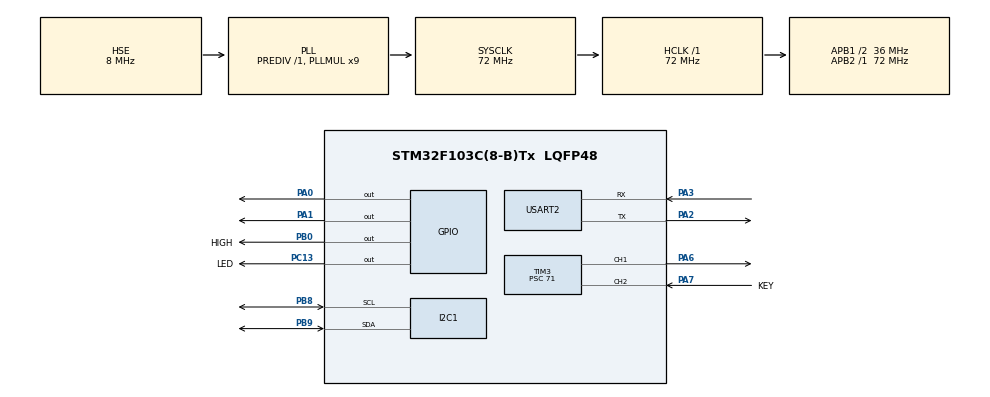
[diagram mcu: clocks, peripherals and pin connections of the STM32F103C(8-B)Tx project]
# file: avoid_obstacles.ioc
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Dma.Request0=USART2_TX
Dma.USART2_TX.0.Direction=DMA_MEMORY_TO_PERIPH
Dma.USART2_TX.0.Instance=DMA1_Channel7
Dma.USART2_TX.0.MemDataAlignment=DMA_MDATAALIGN_BYTE
Dma.USART2_TX.0.MemInc=DMA_MINC_ENABLE
Dma.USART2_TX.0.Mode=DMA_CIRCULAR
Dma.USART2_TX.0.PeriphDataAlignment=DMA_PDATAALIGN_BYTE
Dma.USART2_TX.0.PeriphInc=DMA_PINC_DISABLE
Dma.USART2_TX.0.Priority=DMA_PRIORITY_LOW
Mcu.Family=STM32F1
Mcu.Name=STM32F103C(8-B)Tx
Mcu.Package=LQFP48
NVIC.DMA1_Channel7_IRQn=true\:0\:0\:false\:false\:true\:false\:true\:true
NVIC.PriorityGroup=NVIC_PRIORITYGROUP_4
NVIC.TIM3_IRQn=true\:0\:0\:false\:false\:true\:true\:true\:true
PA0-WKUP.Signal=GPIO_Output
PA1.Signal=GPIO_Output
PA13.Mode=Serial_Wire
PA13.Signal=SYS_JTMS-SWDIO
PA14.Mode=Serial_Wire
PA14.Signal=SYS_JTCK-SWCLK
PA2.Mode=Asynchronous
PA2.Signal=USART2_TX
PA3.Mode=Asynchronous
PA3.Signal=USART2_RX
PA6.Signal=S_TIM3_CH1
PA7.GPIO_Label=KEY
PA7.GPIO_PuPd=GPIO_PULLDOWN
PA7.Signal=S_TIM3_CH2
PB0.GPIO_Label=HIGH
PB0.GPIO_PuPd=GPIO_PULLUP
PB0.PinState=GPIO_PIN_SET
PB0.Signal=GPIO_Output
PB8.Mode=I2C
PB8.Signal=I2C1_SCL
PB9.Mode=I2C
PB9.Signal=I2C1_SDA
PC13-TAMPER-RTC.GPIO_Label=LED
PC13-TAMPER-RTC.GPIO_PuPd=GPIO_PULLDOWN
PC13-TAMPER-RTC.PinState=GPIO_PIN_RESET
PC13-TAMPER-RTC.Signal=GPIO_Output
PD0-OSC_IN.Mode=HSE-External-Oscillator
PD0-OSC_IN.Signal=RCC_OSC_IN
PD1-OSC_OUT.Mode=HSE-External-Oscillator
PD1-OSC_OUT.Signal=RCC_OSC_OUT
ProjectManager.HeapSize=0x200
ProjectManager.StackSize=0x400
ProjectManager.TargetToolchain=STM32CubeIDE
RCC.AHBFreq_Value=72000000
RCC.APB1CLKDivider=RCC_HCLK_DIV2
RCC.APB1Freq_Value=36000000
RCC.APB1TimFreq_Value=72000000
RCC.APB2Freq_Value=72000000
RCC.APB2TimFreq_Value=72000000
RCC.HCLKFreq_Value=72000000
RCC.PLLMUL=RCC_PLL_MUL9
RCC.PLLSourceVirtual=RCC_PLLSOURCE_HSE
RCC.SYSCLKFreq_VALUE=72000000
RCC.SYSCLKSource=RCC_SYSCLKSOURCE_PLLCLK
RCC.USBFreq_Value=72000000
SH.S_TIM3_CH1.0=TIM3_CH1,PWM Generation1 CH1
SH.S_TIM3_CH2.0=TIM3_CH2,Input_Capture2_from_TI2
TIM3.Channel-Input_Capture2_from_TI2=TIM_CHANNEL_2
TIM3.Channel-PWM\ Generation1\ CH1=TIM_CHANNEL_1
TIM3.ICFilter_CH2=8
TIM3.OCMode_PWM-PWM\ Generation1\ CH1=TIM_OCMODE_PWM2
TIM3.Period=499
TIM3.Prescaler=71
USART2.VirtualMode=VM_ASYNC
VP_TIM3_VS_ClockSourceINT.Mode=Internal
board=custom

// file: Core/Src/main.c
/* USER CODE BEGIN Header */
/**
  ******************************************************************************
  * @file           : main.c
  * @brief          : Main program body
  ******************************************************************************
  * @attention
  *
  * Copyright (c) 2023 STMicroelectronics.
  * All rights reserved.
  *
  * This software is licensed under terms that can be found in the LICENSE file
  * in the root directory of this software component.
  * If no LICENSE file comes with this software, it is provided AS-IS.
  *
  ******************************************************************************
  */
/* USER CODE END Header */
#include "main.h"
#include "dma.h"
#include "i2c.h"
#include "tim.h"
#include "usart.h"
#include "gpio.h"

/* USER CODE BEGIN Includes */
#include "atk_ms53l1m.h"
#include "stdio.h"
#include "oled.h"
#include "bmp.h"
/* USER CODE END Includes */

/* USER CODE BEGIN PD */
#define VL53L1X_ADDR 0x52
#define VL53L1X_WRITE 0xEF
#define VL53L1X_READ 0xEE
#define ADDR_24LCxx_WRITE 0xA0
#define ADDR_24LCxx_READ 0xA1
#define BufferSize 1024
/* USER CODE END PD */

/* USER CODE BEGIN PV */
uint16_t id;
/* USER CODE END PV */

void SystemClock_Config(void);

/* USER CODE BEGIN 0 */

// overwrite _write printf function with USART for clion
#ifdef __GNUC__

int _write(int file, char *ptr, int len) {
    // Send UART DATA with DMA
    HAL_UART_Transmit_DMA(&huart2, (uint8_t *) ptr, len + 2);
//    HAL_UART_Transmit(&huart2, (uint8_t *) ptr, len, 100);
    return len;

}

#endif
/* USER CODE END 0 */

int main(void)
{

  /* MCU Configuration--------------------------------------------------------*/

  /* Reset of all peripherals, Initializes the Flash interface and the Systick. */
  HAL_Init();

  /* Configure the system clock */
  SystemClock_Config();

  /* Initialize all configured peripherals */
  MX_GPIO_Init();
  MX_DMA_Init();
  MX_USART2_UART_Init();
  MX_TIM3_Init();
  MX_I2C1_Init();
  /* USER CODE BEGIN 2 */
    printf("Program Start!\r\n");

/* ATK_MS53L1M初始化

    uint8_t ret;

    ret = atk_ms53l1m_init(115200, &id);
    if (ret != 0) {
        printf("MS53L1M init failed!\r\n");
        return 0;
    }
    printf("MS53L1M init success!\r\n");

    // Show id
    char buf[23];
    sprintf(buf, "ATK-MS53L1M ID: 0x%04x", id);
    printf("%s\r\n", buf);

    */
/* 设置ATK-MS53L1M的工作模式为Modbus模式 *//*

    ret = atk_ms53l1m_write_data(id, ATK_MS53L1M_FUNCODE_WORKMODE, ATK_MS53L1M_WORKMODE_MODBUS);
    if (ret == 0) {
        */
/* 设置ATK-MS53L1M的测量模式为长距离测量模式 *//*

        atk_ms53l1m_write_data(id, ATK_MS53L1M_FUNCODE_MEAUMODE, ATK_MS53L1M_MEAUMODE_LONG);
        printf("Set to Modbus mode.\r\n");
    } else {
        printf("Set Modbus mode failed!\r\n");
    }

    OLED_Init();
    OLED_ColorTurn(0);//0ʾ1 ɫʾ
    OLED_DisplayTurn(0);//0ʾ 1 Ļתʾ
    OLED_Refresh();

    uint16_t pwmVal = 0;   //PWM占空比
    HAL_TIM_PWM_Start(&htim3, TIM_CHANNEL_1);
//    HAL_TIM_IC_Start_IT(&htim3, TIM_CHANNEL_2);

    uint32_t capture_Buf[3] = {0};   //存放计数值
    uint8_t capture_Cnt = 0;    //状态标志位
    uint32_t high_time;   //高电平时间
*/

  /* USER CODE END 2 */

  /* Infinite loop */
    while (1) {

    /* USER CODE BEGIN 3 */
/*
        // 获取ATK-MS53L1M测量值
        uint16_t dat;
        ret = atk_ms53l1m_modbus_get_data(id, &dat);
        if (ret == 0) {
            __HAL_TIM_SetCompare(&htim3, TIM_CHANNEL_1, dat / 8);

            char str[23];
            // divide by 1000 to get meter
            sprintf(str, "Distance: %1.3fm\r\n", dat / 1000.0);
            printf(str);
            OLED_ShowString(0, 0, str, 16, 1);
            OLED_Refresh();
        } else {
            printf("Modbus mode get data failed!\r\n");
        }
*/
    }
  /* USER CODE END 3 */
}

void SystemClock_Config(void)
{
  RCC_OscInitTypeDef RCC_OscInitStruct = {0};
  RCC_ClkInitTypeDef RCC_ClkInitStruct = {0};

  /** Initializes the RCC Oscillators according to the specified parameters
  * in the RCC_OscInitTypeDef structure.
  */
  RCC_OscInitStruct.OscillatorType = RCC_OSCILLATORTYPE_HSE;
  RCC_OscInitStruct.HSEState = RCC_HSE_ON;
  RCC_OscInitStruct.HSEPredivValue = RCC_HSE_PREDIV_DIV1;
  RCC_OscInitStruct.HSIState = RCC_HSI_ON;
  RCC_OscInitStruct.PLL.PLLState = RCC_PLL_ON;
  RCC_OscInitStruct.PLL.PLLSource = RCC_PLLSOURCE_HSE;
  RCC_OscInitStruct.PLL.PLLMUL = RCC_PLL_MUL9;
  if (HAL_RCC_OscConfig(&RCC_OscInitStruct) != HAL_OK)
  {
    Error_Handler();
  }

  /** Initializes the CPU, AHB and APB buses clocks
  */
  RCC_ClkInitStruct.ClockType = RCC_CLOCKTYPE_HCLK|RCC_CLOCKTYPE_SYSCLK
                              |RCC_CLOCKTYPE_PCLK1|RCC_CLOCKTYPE_PCLK2;
  RCC_ClkInitStruct.SYSCLKSource = RCC_SYSCLKSOURCE_PLLCLK;
  RCC_ClkInitStruct.AHBCLKDivider = RCC_SYSCLK_DIV1;
  RCC_ClkInitStruct.APB1CLKDivider = RCC_HCLK_DIV2;
  RCC_ClkInitStruct.APB2CLKDivider = RCC_HCLK_DIV1;

  if (HAL_RCC_ClockConfig(&RCC_ClkInitStruct, FLASH_LATENCY_2) != HAL_OK)
  {
    Error_Handler();
  }
}

/* USER CODE BEGIN 4 */
void HAL_TIM_IC_CaptureCallback(TIM_HandleTypeDef *htim)
{
    if (htim->Instance == TIM3) {
        if (HAL_TIM_ACTIVE_CHANNEL_2 == htim->Channel) {
            HAL_GPIO_TogglePin(GPIOC, GPIO_PIN_13);
        }
    }
}
/* USER CODE END 4 */

void Error_Handler(void)
{
    __disable_irq();
    while (1) {
    }
}
